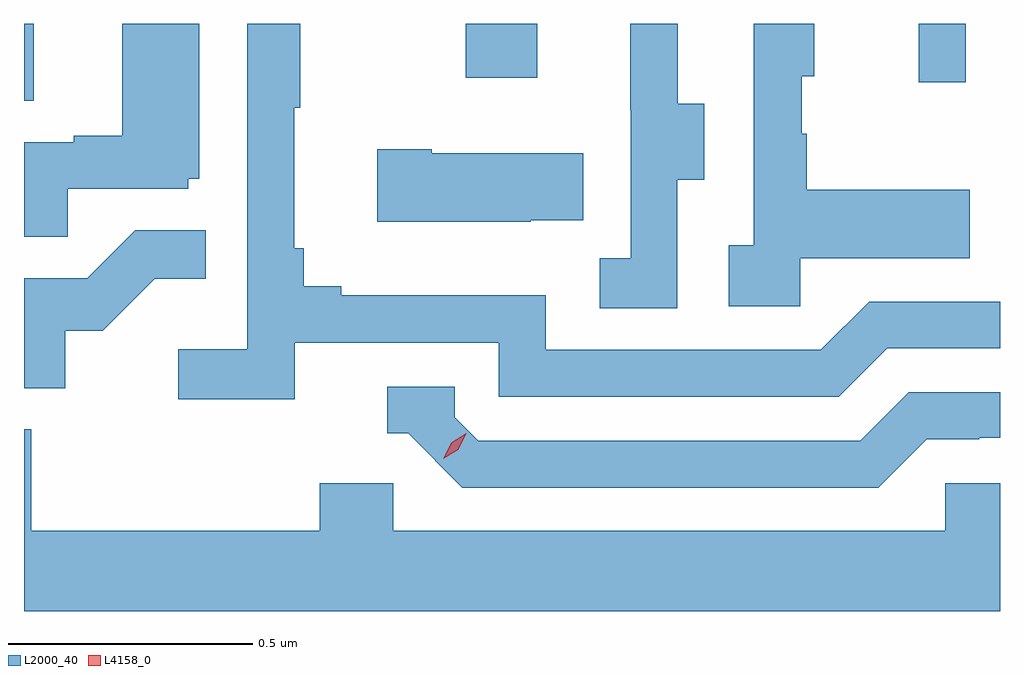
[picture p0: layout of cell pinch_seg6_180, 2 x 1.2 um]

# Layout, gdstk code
import gdstk
lib = gdstk.Library(unit=1e-6, precision=1e-09)
def R(c, l, rs):  # rectangles x0, y0, x1, y1
    for r in rs: c.add(gdstk.rectangle(r[:2], r[2:], *l))
def P(c, l, *ps):  # polygons
    for p in ps: c.add(gdstk.Polygon(p, *l))
L2000_40 = (2000, 40)
L4158_0 = (4158, 0)

pinch_seg6_180 = lib.new_cell('pinch_seg6_180')
R(pinch_seg6_180, L2000_40, [(1016.735,936.394,1016.755,936.551), (1018.568,936.432,1018.665,936.551), (1017.64,936.441,1017.787,936.551)])
P(pinch_seg6_180, L2000_40, [(1016.825,936.213),(1017.072,936.213),(1017.072,936.234),(1017.094,936.234),(1017.094,936.551),(1016.936,936.551),(1016.936,936.322),(1016.837,936.322),(1016.837,936.309),(1016.735,936.309),(1016.735,936.115),(1016.825,936.115)],
  [(1017.29,935.898),(1017.708,935.898),(1017.708,935.787),(1018.405,935.787),(1018.504,935.886),(1018.735,935.886),(1018.735,935.982),(1018.467,935.982),(1018.368,935.883),(1017.804,935.883),(1017.804,935.995),(1017.385,935.995),(1017.385,936.014),(1017.308,936.014),(1017.308,936.091),(1017.289,936.091),(1017.289,936.379),(1017.301,936.379),(1017.301,936.551),(1017.192,936.551),(1017.192,935.884),(1017.051,935.884),(1017.051,935.782),(1017.29,935.782)],
  [(1018.326,936.071),(1018.673,936.071),(1018.673,936.211),(1018.339,936.211),(1018.339,936.326),(1018.329,936.326),(1018.329,936.444),(1018.354,936.444),(1018.354,936.551),(1018.23,936.551),(1018.23,936.098),(1018.179,936.098),(1018.179,935.973),(1018.326,935.973)],
  [(1018.074,936.232),(1018.129,936.232),(1018.129,936.387),(1018.075,936.387),(1018.075,936.551),(1017.977,936.551),(1017.977,936.375),(1017.978,936.375),(1017.978,936.071),(1017.915,936.071),(1017.915,935.968),(1018.074,935.968)],
  [(1017.773,936.149),(1017.881,936.149),(1017.881,936.286),(1017.571,936.286),(1017.571,936.294),(1017.459,936.294),(1017.459,936.146),(1017.773,936.146)],
  [(1016.82,935.922),(1016.896,935.922),(1017.003,936.029),(1017.107,936.029),(1017.107,936.128),(1016.963,936.128),(1016.865,936.03),(1016.735,936.03),(1016.735,935.805),(1016.82,935.805)],
  [(1018.585,935.7),(1018.692,935.7),(1018.692,935.703),(1018.735,935.703),(1018.735,935.796),(1018.548,935.796),(1018.449,935.697),(1017.666,935.697),(1017.618,935.745),(1017.618,935.808),(1017.479,935.808),(1017.479,935.712),(1017.522,935.712),(1017.633,935.601),(1018.486,935.601)],
  [(1018.735,935.61),(1018.623,935.61),(1018.623,935.512),(1017.492,935.512),(1017.492,935.61),(1017.341,935.61),(1017.341,935.512),(1016.75,935.512),(1016.75,935.72),(1016.735,935.72),(1016.735,935.348),(1018.735,935.348)])
P(pinch_seg6_180, L4158_0, [(1017.594,935.66),(1017.594,935.66),(1017.61,935.693),(1017.641,935.712),(1017.641,935.712),(1017.641,935.711),(1017.625,935.679),(1017.594,935.66)])

lib.write_gds('pinch_seg6_180.gds')
